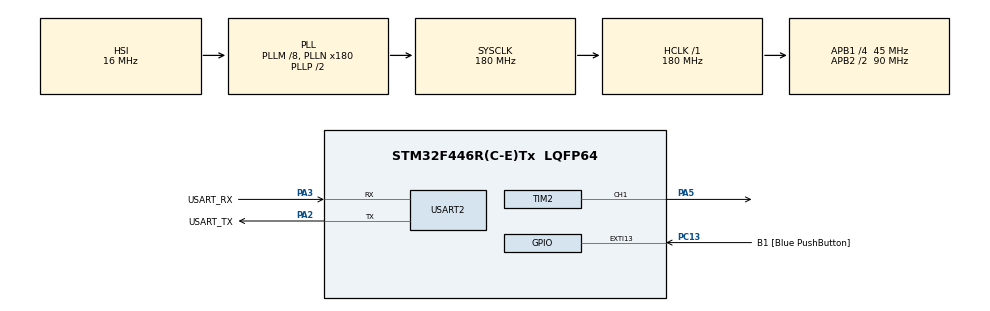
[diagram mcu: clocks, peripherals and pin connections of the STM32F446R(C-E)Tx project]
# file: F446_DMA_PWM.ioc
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Dma.Request0=TIM6_UP
Dma.TIM6_UP.0.Direction=DMA_MEMORY_TO_PERIPH
Dma.TIM6_UP.0.FIFOMode=DMA_FIFOMODE_DISABLE
Dma.TIM6_UP.0.Instance=DMA1_Stream1
Dma.TIM6_UP.0.MemDataAlignment=DMA_MDATAALIGN_HALFWORD
Dma.TIM6_UP.0.MemInc=DMA_MINC_ENABLE
Dma.TIM6_UP.0.Mode=DMA_CIRCULAR
Dma.TIM6_UP.0.PeriphDataAlignment=DMA_PDATAALIGN_HALFWORD
Dma.TIM6_UP.0.PeriphInc=DMA_PINC_DISABLE
Dma.TIM6_UP.0.Priority=DMA_PRIORITY_LOW
Mcu.Family=STM32F4
Mcu.Name=STM32F446R(C-E)Tx
Mcu.Package=LQFP64
NVIC.DMA1_Stream1_IRQn=true\:0\:0\:false\:false\:true\:false\:true\:true
NVIC.PriorityGroup=NVIC_PRIORITYGROUP_0
PA13.GPIO_Label=TMS
PA13.Mode=Serial_Wire
PA13.Signal=SYS_JTMS-SWDIO
PA14.GPIO_Label=TCK
PA14.Mode=Serial_Wire
PA14.Signal=SYS_JTCK-SWCLK
PA2.GPIO_Label=USART_TX
PA2.Mode=Asynchronous
PA2.Signal=USART2_TX
PA3.GPIO_Label=USART_RX
PA3.Mode=Asynchronous
PA3.Signal=USART2_RX
PA5.Signal=S_TIM2_CH1_ETR
PB3.GPIO_Label=SWO
PB3.Signal=SYS_JTDO-SWO
PC13.GPIO_Label=B1 [Blue PushButton]
PC13.GPIO_ModeDefaultEXTI=GPIO_MODE_IT_FALLING
PC13.Signal=GPXTI13
PC14-OSC32_IN.Mode=LSE-External-Oscillator
PC14-OSC32_IN.Signal=RCC_OSC32_IN
PC15-OSC32_OUT.Mode=LSE-External-Oscillator
PC15-OSC32_OUT.Signal=RCC_OSC32_OUT
PH0-OSC_IN.Mode=HSE-External-Oscillator
PH0-OSC_IN.Signal=RCC_OSC_IN
PH1-OSC_OUT.Mode=HSE-External-Oscillator
PH1-OSC_OUT.Signal=RCC_OSC_OUT
ProjectManager.HeapSize=0x200
ProjectManager.StackSize=0x400
ProjectManager.TargetToolchain=STM32CubeIDE
RCC.48MHZClocksFreq_Value=84000000
RCC.AHBFreq_Value=180000000
RCC.APB1CLKDivider=RCC_HCLK_DIV4
RCC.APB1Freq_Value=45000000
RCC.APB1TimFreq_Value=90000000
RCC.APB2CLKDivider=RCC_HCLK_DIV2
RCC.APB2Freq_Value=90000000
RCC.APB2TimFreq_Value=180000000
RCC.CortexFreq_Value=180000000
RCC.FLatency-AdvancedSettings=FLASH_LATENCY_5
RCC.HCLKFreq_Value=180000000
RCC.HSE_VALUE=8000000
RCC.HSI_VALUE=16000000
RCC.PLLM=8
RCC.PLLN=180
RCC.SYSCLKFreq_VALUE=180000000
RCC.SYSCLKSource=RCC_SYSCLKSOURCE_PLLCLK
RCC.USBFreq_Value=180000000
RCC.VCOOutputFreq_Value=360000000
SH.S_TIM2_CH1_ETR.0=TIM2_CH1,PWM Generation1 CH1
TIM2.Channel-PWM\ Generation1\ CH1=TIM_CHANNEL_1
TIM2.Period=999
TIM2.Prescaler=179
TIM6.AutoReloadPreload=TIM_AUTORELOAD_PRELOAD_ENABLE
TIM6.Period=4999
TIM6.Prescaler=179
USART2.VirtualMode=VM_ASYNC
VP_TIM2_VS_ClockSourceINT.Mode=Internal
VP_TIM6_VS_ClockSourceINT.Mode=Enable_Timer
board=NUCLEO-F446RE

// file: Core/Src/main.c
/* USER CODE BEGIN Header */
/**
  ******************************************************************************
  * @file           : main.c
  * @brief          : Main program body
  ******************************************************************************
  * @attention
  *
  * Copyright (c) 2022 STMicroelectronics.
  * All rights reserved.
  *
  * This software is licensed under terms that can be found in the LICENSE file
  * in the root directory of this software component.
  * If no LICENSE file comes with this software, it is provided AS-IS.
  *
  ******************************************************************************
  */
/* USER CODE END Header */
#include "main.h"

void SystemClock_Config(void);
static void MX_GPIO_Init(void);
static void MX_DMA_Init(void);
static void MX_USART2_UART_Init(void);
static void MX_TIM2_Init(void);
static void MX_TIM6_Init(void);
/* USER CODE BEGIN PFP */

uint16_t Pokus;

uint32_t sinusovka[] = {
		0x200,0x210,0x220,0x230,0x240,0x250,0x260,0x270,
		0x27f,0x28f,0x29e,0x2ad,0x2bc,0x2cb,0x2da,0x2e8,
		0x2f7,0x305,0x312,0x320,0x32d,0x33a,0x346,0x353,
		0x35e,0x36a,0x375,0x380,0x38b,0x395,0x39e,0x3a7,
		0x3b0,0x3b9,0x3c1,0x3c8,0x3cf,0x3d6,0x3dc,0x3e2,
		0x3e7,0x3ec,0x3f0,0x3f4,0x3f7,0x3fa,0x3fc,0x3fe,
		0x3ff,0x400,0x400,0x400,0x3ff,0x3fe,0x3fc,0x3fa,
		0x3f7,0x3f4,0x3f0,0x3ec,0x3e7,0x3e2,0x3dc,0x3d6,
		0x3cf,0x3c8,0x3c1,0x3b9,0x3b0,0x3a7,0x39e,0x395,
		0x38b,0x380,0x375,0x36a,0x35e,0x353,0x346,0x33a,
		0x32d,0x320,0x312,0x305,0x2f7,0x2e8,0x2da,0x2cb,
		0x2bc,0x2ad,0x29e,0x28f,0x27f,0x270,0x260,0x250,
		0x240,0x230,0x220,0x210,0x200,0x1f0,0x1e0,0x1d0,
		0x1c0,0x1b0,0x1a0,0x190,0x181,0x171,0x162,0x153,
		0x144,0x135,0x126,0x118,0x109,0xfb,0xee,0xe0,
		0xd3,0xc6,0xba,0xad,0xa2,0x96,0x8b,0x80,
		0x75,0x6b,0x62,0x59,0x50,0x47,0x3f,0x38,
		0x31,0x2a,0x24,0x1e,0x19,0x14,0x10,0xc,
		0x9,0x6,0x4,0x2,0x1,0x0,0x0,0x0,
		0x1,0x2,0x4,0x6,0x9,0xc,0x10,0x14,
		0x19,0x1e,0x24,0x2a,0x31,0x38,0x3f,0x47,
		0x50,0x59,0x62,0x6b,0x75,0x80,0x8b,0x96,
		0xa2,0xad,0xba,0xc6,0xd3,0xe0,0xee,0xfb,
		0x109,0x118,0x126,0x135,0x144,0x153,0x162,0x171,
		0x181,0x190,0x1a0,0x1b0,0x1c0,0x1d0,0x1e0,0x1f0
};

/* USER CODE END PFP */

int main(void)
{

  /* MCU Configuration--------------------------------------------------------*/

  /* Reset of all peripherals, Initializes the Flash interface and the Systick. */
  HAL_Init();

  /* Configure the system clock */
  SystemClock_Config();

  /* USER CODE BEGIN SysInit */
  HAL_SYSTICK_Config( 180000 );
  /* USER CODE END SysInit */

  /* Initialize all configured peripherals */
  MX_GPIO_Init();
  MX_DMA_Init();
  MX_USART2_UART_Init();
  MX_TIM2_Init();
  MX_TIM6_Init();
  /* USER CODE BEGIN 2 */
  LL_TIM_EnableCounter(TIM2);
  LL_DMA_EnableStream(DMA1, LL_DMA_STREAM_1);
  LL_TIM_EnableDMAReq_UPDATE(TIM6);
  LL_TIM_EnableCounter(TIM6);
  LL_TIM_SetAutoReload(TIM6, 2500);
  /* USER CODE END 2 */

  /* Infinite loop */
  /* USER CODE BEGIN WHILE */
  while (1)
  {
    Pokus = Pokus - 1;
    if(Pokus==0) Pokus = 1000;
    HAL_Delay(500);
    /* USER CODE END WHILE */

  }
}

void SystemClock_Config(void)
{
  RCC_OscInitTypeDef RCC_OscInitStruct = {0};
  RCC_ClkInitTypeDef RCC_ClkInitStruct = {0};

  /** Configure the main internal regulator output voltage
  */
  __HAL_RCC_PWR_CLK_ENABLE();
  __HAL_PWR_VOLTAGESCALING_CONFIG(PWR_REGULATOR_VOLTAGE_SCALE1);

  /** Initializes the RCC Oscillators according to the specified parameters
  * in the RCC_OscInitTypeDef structure.
  */
  RCC_OscInitStruct.OscillatorType = RCC_OSCILLATORTYPE_HSI;
  RCC_OscInitStruct.HSIState = RCC_HSI_ON;
  RCC_OscInitStruct.HSICalibrationValue = RCC_HSICALIBRATION_DEFAULT;
  RCC_OscInitStruct.PLL.PLLState = RCC_PLL_ON;
  RCC_OscInitStruct.PLL.PLLSource = RCC_PLLSOURCE_HSI;
  RCC_OscInitStruct.PLL.PLLM = 8;
  RCC_OscInitStruct.PLL.PLLN = 180;
  RCC_OscInitStruct.PLL.PLLP = RCC_PLLP_DIV2;
  RCC_OscInitStruct.PLL.PLLQ = 2;
  RCC_OscInitStruct.PLL.PLLR = 2;
  if (HAL_RCC_OscConfig(&RCC_OscInitStruct) != HAL_OK)
  {
    Error_Handler();
  }

  /** Activate the Over-Drive mode
  */
  if (HAL_PWREx_EnableOverDrive() != HAL_OK)
  {
    Error_Handler();
  }

  /** Initializes the CPU, AHB and APB buses clocks
  */
  RCC_ClkInitStruct.ClockType = RCC_CLOCKTYPE_HCLK|RCC_CLOCKTYPE_SYSCLK
                              |RCC_CLOCKTYPE_PCLK1|RCC_CLOCKTYPE_PCLK2;
  RCC_ClkInitStruct.SYSCLKSource = RCC_SYSCLKSOURCE_PLLCLK;
  RCC_ClkInitStruct.AHBCLKDivider = RCC_SYSCLK_DIV1;
  RCC_ClkInitStruct.APB1CLKDivider = RCC_HCLK_DIV4;
  RCC_ClkInitStruct.APB2CLKDivider = RCC_HCLK_DIV2;

  if (HAL_RCC_ClockConfig(&RCC_ClkInitStruct, FLASH_LATENCY_5) != HAL_OK)
  {
    Error_Handler();
  }
}

static void MX_TIM2_Init(void)
{

  LL_TIM_InitTypeDef TIM_InitStruct = {0};
  LL_TIM_OC_InitTypeDef TIM_OC_InitStruct = {0};

  LL_GPIO_InitTypeDef GPIO_InitStruct = {0};

  /* Peripheral clock enable */
  LL_APB1_GRP1_EnableClock(LL_APB1_GRP1_PERIPH_TIM2);

  TIM_InitStruct.Prescaler = 179;
  TIM_InitStruct.CounterMode = LL_TIM_COUNTERMODE_UP;
  TIM_InitStruct.Autoreload = 999;
  TIM_InitStruct.ClockDivision = LL_TIM_CLOCKDIVISION_DIV1;
  LL_TIM_Init(TIM2, &TIM_InitStruct);
  LL_TIM_DisableARRPreload(TIM2);
  LL_TIM_SetClockSource(TIM2, LL_TIM_CLOCKSOURCE_INTERNAL);
  LL_TIM_OC_EnablePreload(TIM2, LL_TIM_CHANNEL_CH1);
  TIM_OC_InitStruct.OCMode = LL_TIM_OCMODE_PWM1;
  TIM_OC_InitStruct.OCState = LL_TIM_OCSTATE_DISABLE;
  TIM_OC_InitStruct.OCNState = LL_TIM_OCSTATE_DISABLE;
  TIM_OC_InitStruct.CompareValue = 0;
  TIM_OC_InitStruct.OCPolarity = LL_TIM_OCPOLARITY_HIGH;
  LL_TIM_OC_Init(TIM2, LL_TIM_CHANNEL_CH1, &TIM_OC_InitStruct);
  LL_TIM_OC_DisableFast(TIM2, LL_TIM_CHANNEL_CH1);
  LL_TIM_SetTriggerOutput(TIM2, LL_TIM_TRGO_RESET);
  LL_TIM_DisableMasterSlaveMode(TIM2);
  LL_AHB1_GRP1_EnableClock(LL_AHB1_GRP1_PERIPH_GPIOA);
  /**TIM2 GPIO Configuration
  PA5   ------> TIM2_CH1
  */
  GPIO_InitStruct.Pin = LL_GPIO_PIN_5;
  GPIO_InitStruct.Mode = LL_GPIO_MODE_ALTERNATE;
  GPIO_InitStruct.Speed = LL_GPIO_SPEED_FREQ_LOW;
  GPIO_InitStruct.OutputType = LL_GPIO_OUTPUT_PUSHPULL;
  GPIO_InitStruct.Pull = LL_GPIO_PULL_NO;
  GPIO_InitStruct.Alternate = LL_GPIO_AF_1;
  LL_GPIO_Init(GPIOA, &GPIO_InitStruct);

}

static void MX_TIM6_Init(void)
{

  LL_TIM_InitTypeDef TIM_InitStruct = {0};

  /* Peripheral clock enable */
  LL_APB1_GRP1_EnableClock(LL_APB1_GRP1_PERIPH_TIM6);

  /* TIM6 DMA Init */

  /* TIM6_UP Init */
  LL_DMA_SetChannelSelection(DMA1, LL_DMA_STREAM_1, LL_DMA_CHANNEL_7);

  LL_DMA_SetDataTransferDirection(DMA1, LL_DMA_STREAM_1, LL_DMA_DIRECTION_MEMORY_TO_PERIPH);

  LL_DMA_SetStreamPriorityLevel(DMA1, LL_DMA_STREAM_1, LL_DMA_PRIORITY_LOW);

  LL_DMA_SetMode(DMA1, LL_DMA_STREAM_1, LL_DMA_MODE_CIRCULAR);

  LL_DMA_SetPeriphIncMode(DMA1, LL_DMA_STREAM_1, LL_DMA_PERIPH_NOINCREMENT);

  LL_DMA_SetMemoryIncMode(DMA1, LL_DMA_STREAM_1, LL_DMA_MEMORY_INCREMENT);

  LL_DMA_SetPeriphSize(DMA1, LL_DMA_STREAM_1, LL_DMA_PDATAALIGN_HALFWORD);

  LL_DMA_SetMemorySize(DMA1, LL_DMA_STREAM_1, LL_DMA_MDATAALIGN_HALFWORD);

  LL_DMA_DisableFifoMode(DMA1, LL_DMA_STREAM_1);

  /* USER CODE BEGIN TIM6_Init 1 */
  LL_DMA_SetMemoryAddress(DMA1, LL_DMA_STREAM_1, (uint32_t)sinusovka);
  LL_DMA_SetDataLength(DMA1, LL_DMA_STREAM_1, sizeof(sinusovka)/sizeof(sinusovka[0]));
  LL_DMA_SetPeriphAddress(DMA1, LL_DMA_STREAM_1, (uint32_t)(&(TIM2->CCR1)));

  /* USER CODE END TIM6_Init 1 */
  TIM_InitStruct.Prescaler = 179;
  TIM_InitStruct.CounterMode = LL_TIM_COUNTERMODE_UP;
  TIM_InitStruct.Autoreload = 4999;
  LL_TIM_Init(TIM6, &TIM_InitStruct);
  LL_TIM_EnableARRPreload(TIM6);
  LL_TIM_SetTriggerOutput(TIM6, LL_TIM_TRGO_RESET);
  LL_TIM_DisableMasterSlaveMode(TIM6);

}

static void MX_USART2_UART_Init(void)
{

  LL_USART_InitTypeDef USART_InitStruct = {0};

  LL_GPIO_InitTypeDef GPIO_InitStruct = {0};

  /* Peripheral clock enable */
  LL_APB1_GRP1_EnableClock(LL_APB1_GRP1_PERIPH_USART2);

  LL_AHB1_GRP1_EnableClock(LL_AHB1_GRP1_PERIPH_GPIOA);
  /**USART2 GPIO Configuration
  PA2   ------> USART2_TX
  PA3   ------> USART2_RX
  */
  GPIO_InitStruct.Pin = USART_TX_Pin|USART_RX_Pin;
  GPIO_InitStruct.Mode = LL_GPIO_MODE_ALTERNATE;
  GPIO_InitStruct.Speed = LL_GPIO_SPEED_FREQ_VERY_HIGH;
  GPIO_InitStruct.OutputType = LL_GPIO_OUTPUT_PUSHPULL;
  GPIO_InitStruct.Pull = LL_GPIO_PULL_NO;
  GPIO_InitStruct.Alternate = LL_GPIO_AF_7;
  LL_GPIO_Init(GPIOA, &GPIO_InitStruct);

  USART_InitStruct.BaudRate = 115200;
  USART_InitStruct.DataWidth = LL_USART_DATAWIDTH_8B;
  USART_InitStruct.StopBits = LL_USART_STOPBITS_1;
  USART_InitStruct.Parity = LL_USART_PARITY_NONE;
  USART_InitStruct.TransferDirection = LL_USART_DIRECTION_TX_RX;
  USART_InitStruct.HardwareFlowControl = LL_USART_HWCONTROL_NONE;
  USART_InitStruct.OverSampling = LL_USART_OVERSAMPLING_16;
  LL_USART_Init(USART2, &USART_InitStruct);
  LL_USART_ConfigAsyncMode(USART2);
  LL_USART_Enable(USART2);

}

static void MX_DMA_Init(void)
{

  /* Init with LL driver */
  /* DMA controller clock enable */
  LL_AHB1_GRP1_EnableClock(LL_AHB1_GRP1_PERIPH_DMA1);

  /* DMA interrupt init */
  /* DMA1_Stream1_IRQn interrupt configuration */
  NVIC_SetPriority(DMA1_Stream1_IRQn, NVIC_EncodePriority(NVIC_GetPriorityGrouping(),0, 0));
  NVIC_EnableIRQ(DMA1_Stream1_IRQn);

}

static void MX_GPIO_Init(void)
{
  LL_EXTI_InitTypeDef EXTI_InitStruct = {0};

  /* GPIO Ports Clock Enable */
  LL_AHB1_GRP1_EnableClock(LL_AHB1_GRP1_PERIPH_GPIOC);
  LL_AHB1_GRP1_EnableClock(LL_AHB1_GRP1_PERIPH_GPIOH);
  LL_AHB1_GRP1_EnableClock(LL_AHB1_GRP1_PERIPH_GPIOA);
  LL_AHB1_GRP1_EnableClock(LL_AHB1_GRP1_PERIPH_GPIOB);

  /**/
  LL_SYSCFG_SetEXTISource(LL_SYSCFG_EXTI_PORTC, LL_SYSCFG_EXTI_LINE13);

  /**/
  EXTI_InitStruct.Line_0_31 = LL_EXTI_LINE_13;
  EXTI_InitStruct.LineCommand = ENABLE;
  EXTI_InitStruct.Mode = LL_EXTI_MODE_IT;
  EXTI_InitStruct.Trigger = LL_EXTI_TRIGGER_FALLING;
  LL_EXTI_Init(&EXTI_InitStruct);

  /**/
  LL_GPIO_SetPinPull(B1_GPIO_Port, B1_Pin, LL_GPIO_PULL_NO);

  /**/
  LL_GPIO_SetPinMode(B1_GPIO_Port, B1_Pin, LL_GPIO_MODE_INPUT);

}

void Error_Handler(void)
{
  __disable_irq();
  while (1)
  {
  }
}
